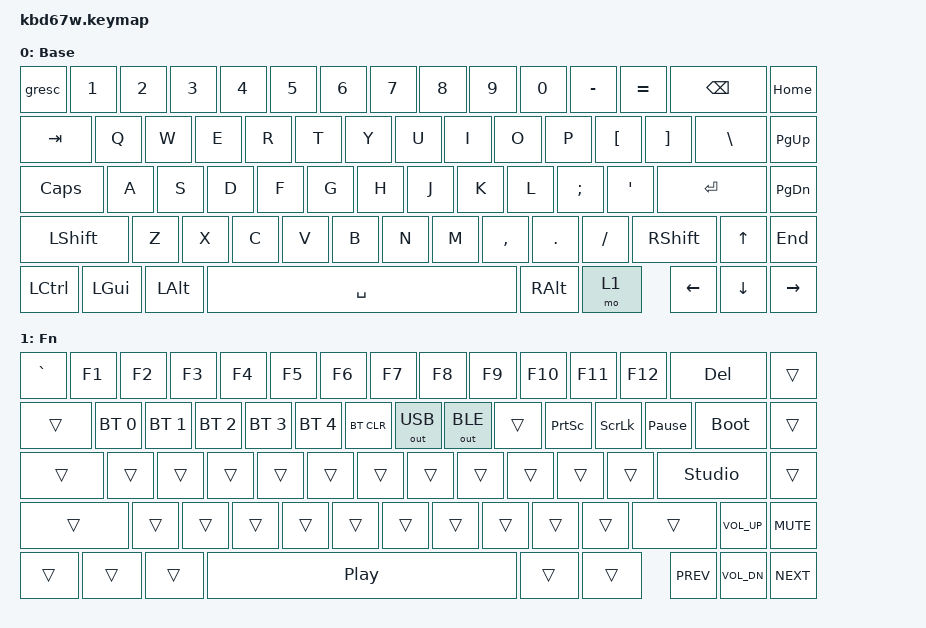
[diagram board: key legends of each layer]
/*
 * KBD67 Wireless keymap. Same base layout as the stock KBD67 MKII RGB;
 * the old RGB keys on the Fn layer are now Bluetooth controls.
 *
 * Once you start remapping in ZMK Studio, edits to this file only take
 * effect after "Restore Stock Settings" in Studio.
 */

#include <behaviors.dtsi>
#include <dt-bindings/zmk/keys.h>
#include <dt-bindings/zmk/bt.h>
#include <dt-bindings/zmk/outputs.h>

/ {
    keymap {
        compatible = "zmk,keymap";

        base {
            display-name = "Base";
            bindings = <
&gresc     &kp N1    &kp N2    &kp N3    &kp N4    &kp N5    &kp N6    &kp N7    &kp N8    &kp N9    &kp N0    &kp MINUS &kp EQUAL &kp BSPC  &kp HOME
&kp TAB    &kp Q     &kp W     &kp E     &kp R     &kp T     &kp Y     &kp U     &kp I     &kp O     &kp P     &kp LBKT  &kp RBKT  &kp BSLH  &kp PG_UP
&kp CAPS   &kp A     &kp S     &kp D     &kp F     &kp G     &kp H     &kp J     &kp K     &kp L     &kp SEMI  &kp SQT             &kp RET   &kp PG_DN
&kp LSHFT  &kp Z     &kp X     &kp C     &kp V     &kp B     &kp N     &kp M     &kp COMMA &kp DOT   &kp FSLH            &kp RSHFT &kp UP    &kp END
&kp LCTRL  &kp LGUI  &kp LALT                      &kp SPACE                               &kp RALT  &mo 1               &kp LEFT  &kp DOWN  &kp RIGHT
            >;
        };

        fn {
            display-name = "Fn";
            bindings = <
&kp GRAVE  &kp F1        &kp F2        &kp F3        &kp F4        &kp F5        &kp F6     &kp F7      &kp F8      &kp F9  &kp F10   &kp F11  &kp F12         &kp DEL         &trans
&trans     &bt BT_SEL 0  &bt BT_SEL 1  &bt BT_SEL 2  &bt BT_SEL 3  &bt BT_SEL 4  &bt BT_CLR &out OUT_USB &out OUT_BLE &trans  &kp PSCRN &kp SLCK &kp PAUSE_BREAK &bootloader     &trans
&trans     &trans        &trans        &trans        &trans        &trans        &trans     &trans      &trans      &trans  &trans    &trans                   &studio_unlock  &trans
&trans     &trans        &trans        &trans        &trans        &trans        &trans     &trans      &trans      &trans  &trans                   &trans          &kp C_VOL_UP    &kp C_MUTE
&trans     &trans        &trans                                    &kp C_PP                                          &trans            &trans                   &kp C_PREV      &kp C_VOL_DN &kp C_NEXT
            >;
        };
    };
};
